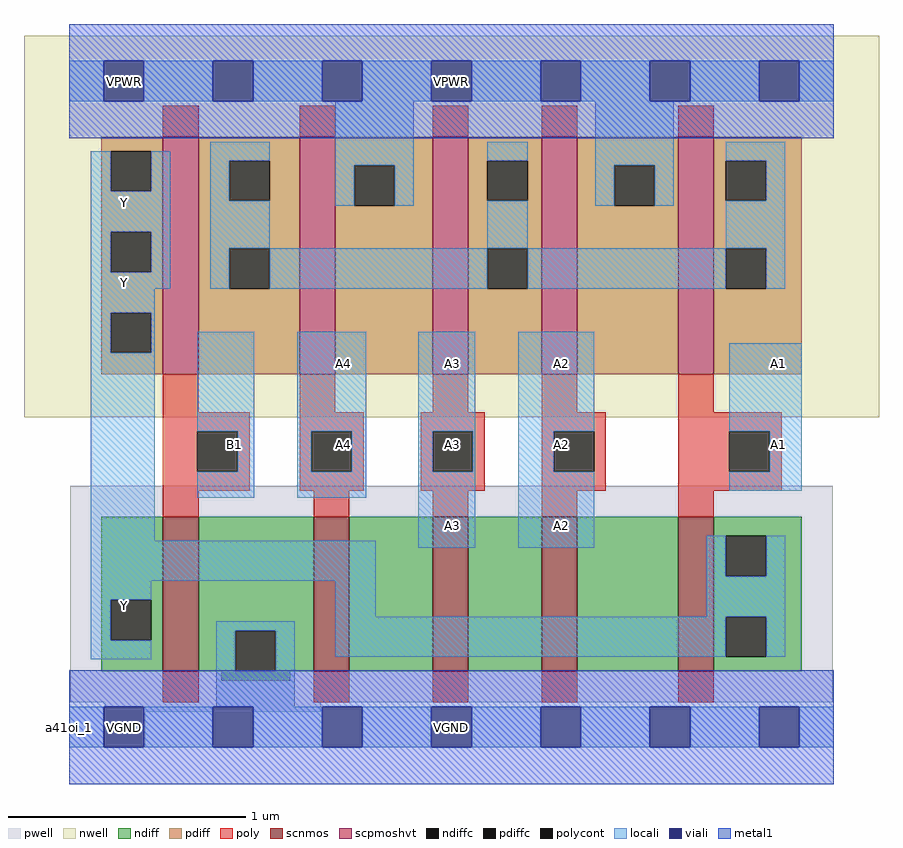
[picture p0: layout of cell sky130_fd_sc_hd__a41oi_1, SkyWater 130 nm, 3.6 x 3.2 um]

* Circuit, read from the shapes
.subckt sky130_fd_sc_hd__a41oi_1 A1 A2 A3 A4 B1 VGND VNB VPB VPWR Y
XM1 VGND B1 Y VNB sky130_fd_pr__nfet_01v8 w=0.65 l=0.15
XM2 n1 A4 VGND VNB sky130_fd_pr__nfet_01v8 w=0.65 l=0.15
XM3 n2 A3 n1 VNB sky130_fd_pr__nfet_01v8 w=0.65 l=0.15
XM4 n3 A2 n2 VNB sky130_fd_pr__nfet_01v8 w=0.65 l=0.15
XM5 Y A1 n3 VNB sky130_fd_pr__nfet_01v8 w=0.65 l=0.15
XM6 n4 B1 Y VPB sky130_fd_pr__pfet_01v8_hvt w=1 l=0.15
XM7 VPWR A4 n4 VPB sky130_fd_pr__pfet_01v8_hvt w=1 l=0.15
XM8 n4 A3 VPWR VPB sky130_fd_pr__pfet_01v8_hvt w=1 l=0.15
XM9 VPWR A2 n4 VPB sky130_fd_pr__pfet_01v8_hvt w=1 l=0.15
XM10 n4 A1 VPWR VPB sky130_fd_pr__pfet_01v8_hvt w=1 l=0.15
.ends

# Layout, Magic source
magic
tech sky130B
magscale 1 2
<< nwell >>
rect -38 261 682 582
<< pwell >>
rect 1 21 643 203
rect 30 13 212 21
rect 30 -17 64 13
<< scnmos >>
rect 79 47 109 177
rect 206 47 236 177
rect 306 47 336 177
rect 398 47 428 177
rect 513 47 543 177
<< scpmoshvt >>
rect 79 297 109 497
rect 194 297 224 497
rect 306 297 336 497
rect 398 297 428 497
rect 513 297 543 497
<< ndiff >>
rect 27 107 79 177
rect 27 73 35 107
rect 69 73 79 107
rect 27 47 79 73
rect 109 81 206 177
rect 109 47 140 81
rect 174 47 206 81
rect 236 47 306 177
rect 336 47 398 177
rect 428 47 513 177
rect 543 161 617 177
rect 543 127 553 161
rect 587 127 617 161
rect 543 93 617 127
rect 543 59 553 93
rect 587 59 617 93
rect 543 47 617 59
rect 128 39 186 47
<< pdiff >>
rect 27 485 79 497
rect 27 451 35 485
rect 69 451 79 485
rect 27 417 79 451
rect 27 383 35 417
rect 69 383 79 417
rect 27 349 79 383
rect 27 315 35 349
rect 69 315 79 349
rect 27 297 79 315
rect 109 477 194 497
rect 109 443 135 477
rect 169 443 194 477
rect 109 403 194 443
rect 109 369 135 403
rect 169 369 194 403
rect 109 297 194 369
rect 224 473 306 497
rect 224 439 240 473
rect 274 439 306 473
rect 224 297 306 439
rect 336 477 398 497
rect 336 443 352 477
rect 386 443 398 477
rect 336 403 398 443
rect 336 369 352 403
rect 386 369 398 403
rect 336 297 398 369
rect 428 473 513 497
rect 428 439 459 473
rect 493 439 513 473
rect 428 297 513 439
rect 543 477 617 497
rect 543 443 553 477
rect 587 443 617 477
rect 543 403 617 443
rect 543 369 553 403
rect 587 369 617 403
rect 543 297 617 369
<< ndiffc >>
rect 35 73 69 107
rect 140 47 174 81
rect 553 127 587 161
rect 553 59 587 93
<< pdiffc >>
rect 35 451 69 485
rect 35 383 69 417
rect 35 315 69 349
rect 135 443 169 477
rect 135 369 169 403
rect 240 439 274 473
rect 352 443 386 477
rect 352 369 386 403
rect 459 439 493 473
rect 553 443 587 477
rect 553 369 587 403
<< poly >>
rect 79 497 109 523
rect 194 497 224 523
rect 306 497 336 523
rect 398 497 428 523
rect 513 497 543 523
rect 79 265 109 297
rect 194 265 224 297
rect 306 265 336 297
rect 398 265 428 297
rect 513 265 543 297
rect 79 249 152 265
rect 79 215 108 249
rect 142 215 152 249
rect 79 199 152 215
rect 194 249 248 265
rect 194 215 204 249
rect 238 215 248 249
rect 194 199 248 215
rect 296 249 350 265
rect 296 215 306 249
rect 340 215 350 249
rect 296 199 350 215
rect 398 249 452 265
rect 398 215 408 249
rect 442 215 452 249
rect 398 199 452 215
rect 513 249 600 265
rect 513 215 556 249
rect 590 215 600 249
rect 513 199 600 215
rect 79 177 109 199
rect 206 177 236 199
rect 306 177 336 199
rect 398 177 428 199
rect 513 177 543 199
rect 79 21 109 47
rect 206 21 236 47
rect 306 21 336 47
rect 398 21 428 47
rect 513 21 543 47
<< polycont >>
rect 108 215 142 249
rect 204 215 238 249
rect 306 215 340 249
rect 408 215 442 249
rect 556 215 590 249
<< locali >>
rect 0 527 29 561
rect 63 527 121 561
rect 155 527 213 561
rect 247 527 305 561
rect 339 527 397 561
rect 431 527 489 561
rect 523 527 581 561
rect 615 527 644 561
rect 18 451 35 485
rect 69 451 85 485
rect 18 417 85 451
rect 18 383 35 417
rect 69 383 85 417
rect 18 369 85 383
rect 119 477 169 493
rect 119 443 135 477
rect 119 403 169 443
rect 224 473 290 527
rect 224 439 240 473
rect 274 439 290 473
rect 352 477 386 493
rect 352 403 386 443
rect 443 473 509 527
rect 443 439 459 473
rect 493 439 509 473
rect 553 477 603 493
rect 587 443 603 477
rect 553 403 603 443
rect 119 369 135 403
rect 169 369 352 403
rect 386 369 553 403
rect 587 369 603 403
rect 18 349 72 369
rect 18 315 35 349
rect 69 315 72 349
rect 18 157 72 315
rect 108 249 156 333
rect 142 215 156 249
rect 108 193 156 215
rect 192 249 250 333
rect 192 215 204 249
rect 238 215 250 249
rect 192 193 250 215
rect 294 249 342 333
rect 294 215 306 249
rect 340 215 342 249
rect 18 123 258 157
rect 294 151 342 215
rect 378 249 442 333
rect 378 215 408 249
rect 378 151 442 215
rect 556 249 617 323
rect 590 215 617 249
rect 556 199 617 215
rect 18 107 69 123
rect 18 73 35 107
rect 224 93 258 123
rect 537 127 553 161
rect 587 127 603 161
rect 537 93 603 127
rect 18 57 69 73
rect 124 81 190 89
rect 124 47 140 81
rect 174 47 190 81
rect 224 59 553 93
rect 587 59 603 93
rect 124 17 190 47
rect 0 -17 29 17
rect 63 -17 121 17
rect 155 -17 213 17
rect 247 -17 305 17
rect 339 -17 397 17
rect 431 -17 489 17
rect 523 -17 581 17
rect 615 -17 644 17
<< viali >>
rect 29 527 63 561
rect 121 527 155 561
rect 213 527 247 561
rect 305 527 339 561
rect 397 527 431 561
rect 489 527 523 561
rect 581 527 615 561
rect 29 -17 63 17
rect 121 -17 155 17
rect 213 -17 247 17
rect 305 -17 339 17
rect 397 -17 431 17
rect 489 -17 523 17
rect 581 -17 615 17
<< metal1 >>
rect 0 561 644 592
rect 0 527 29 561
rect 63 527 121 561
rect 155 527 213 561
rect 247 527 305 561
rect 339 527 397 561
rect 431 527 489 561
rect 523 527 581 561
rect 615 527 644 561
rect 0 496 644 527
rect 0 17 644 48
rect 0 -17 29 17
rect 63 -17 121 17
rect 155 -17 213 17
rect 247 -17 305 17
rect 339 -17 397 17
rect 431 -17 489 17
rect 523 -17 581 17
rect 615 -17 644 17
rect 0 -48 644 -17
<< labels >>
flabel metal1 s 30 -17 64 17 0 FreeSans 200 0 0 0 VGND
port 6 nsew ground bidirectional abutment
flabel metal1 s 30 527 64 561 0 FreeSans 200 0 0 0 VPWR
port 9 nsew power bidirectional abutment
flabel locali s 214 289 248 323 0 FreeSans 200 0 0 0 A4
port 4 nsew signal input
flabel locali s 30 357 64 391 0 FreeSans 200 0 0 0 Y
port 10 nsew signal output
flabel locali s 122 221 156 255 0 FreeSans 200 0 0 0 B1
port 5 nsew signal input
flabel locali s 580 221 614 255 0 FreeSans 200 0 0 0 A1
port 1 nsew signal input
flabel locali s 398 221 432 255 0 FreeSans 200 0 0 0 A2
port 2 nsew signal input
flabel locali s 398 289 432 323 0 FreeSans 200 0 0 0 A2
port 2 nsew signal input
flabel locali s 30 425 64 459 0 FreeSans 200 0 0 0 Y
port 10 nsew signal output
flabel locali s 30 85 64 119 0 FreeSans 200 0 0 0 Y
port 10 nsew signal output
flabel locali s 306 289 340 323 0 FreeSans 200 0 0 0 A3
port 3 nsew signal input
flabel locali s 398 153 432 187 0 FreeSans 200 0 0 0 A2
port 2 nsew signal input
flabel locali s 306 153 340 187 0 FreeSans 200 0 0 0 A3
port 3 nsew signal input
flabel locali s 214 221 248 255 0 FreeSans 200 0 0 0 A4
port 4 nsew signal input
flabel locali s 306 221 340 255 0 FreeSans 200 0 0 0 A3
port 3 nsew signal input
flabel locali s 580 289 614 323 0 FreeSans 200 0 0 0 A1
port 1 nsew signal input
flabel nwell s 30 527 64 561 0 FreeSans 200 0 0 0 VPB
port 8 nsew power bidirectional
flabel pwell s 30 -17 64 17 0 FreeSans 200 0 0 0 VNB
port 7 nsew ground bidirectional
rlabel comment s 0 0 0 0 4 a41oi_1
rlabel metal1 s 0 -48 644 48 1 VGND
port 6 nsew ground bidirectional abutment
rlabel metal1 s 0 496 644 592 1 VPWR
port 9 nsew power bidirectional abutment
<< properties >>
string FIXED_BBOX 0 0 644 544
string GDS_END 3536734
string GDS_FILE $PDKPATH/libs.ref/sky130_fd_sc_hd/gds/sky130_fd_sc_hd.gds
string GDS_START 3530012
string LEFclass CORE
string LEFsite unithd
string LEFsymmetry X Y R90
string path 0.000 0.000 16.100 0.000 
<< end >>
